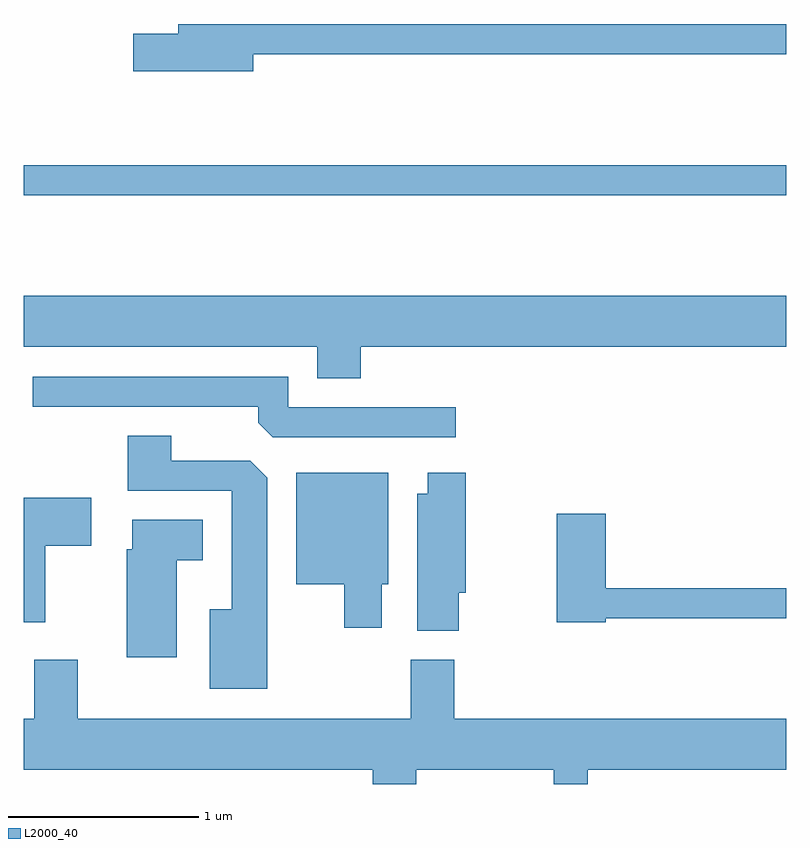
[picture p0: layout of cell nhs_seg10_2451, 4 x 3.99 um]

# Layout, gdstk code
import gdstk
lib = gdstk.Library(unit=1e-6, precision=1e-09)
def R(c, l, rs):  # rectangles x0, y0, x1, y1
    for r in rs: c.add(gdstk.rectangle(r[:2], r[2:], *l))
def P(c, l, *ps):  # polygons
    for p in ps: c.add(gdstk.Polygon(p, *l))
L2000_40 = (2000, 40)

nhs_seg10_2451 = lib.new_cell('nhs_seg10_2451')
R(nhs_seg10_2451, L2000_40, [(257.611,2103.611,261.611,2103.769)])
P(nhs_seg10_2451, L2000_40, [(258.814,2104.351),(261.611,2104.351),(261.611,2104.509),(258.421,2104.509),(258.421,2104.459),(258.186,2104.459),(258.186,2104.261),(258.814,2104.261)],
  [(259.379,2102.816),(261.611,2102.816),(261.611,2103.084),(257.611,2103.084),(257.611,2102.816),(259.151,2102.816),(259.151,2102.651),(259.379,2102.651)],
  [(259.878,2102.499),(258.999,2102.499),(258.999,2102.659),(257.658,2102.659),(257.658,2102.501),(258.841,2102.501),(258.841,2102.417),(258.916,2102.341),(259.878,2102.341)],
  [(258.889,2102.129),(258.799,2102.219),(258.384,2102.219),(258.384,2102.349),(258.156,2102.349),(258.156,2102.061),(258.701,2102.061),(258.701,2101.439),(258.586,2101.439),(258.586,2101.021),(258.889,2101.021)],
  [(259.489,2101.571),(259.524,2101.571),(259.524,2102.154),(259.041,2102.154),(259.041,2101.571),(259.291,2101.571),(259.291,2101.341),(259.489,2101.341)],
  [(259.894,2101.526),(259.929,2101.526),(259.929,2102.154),(259.731,2102.154),(259.731,2102.044),(259.676,2102.044),(259.676,2101.326),(259.894,2101.326)],
  [(257.724,2101.771),(257.964,2101.771),(257.964,2102.024),(257.611,2102.024),(257.611,2101.371),(257.724,2101.371)],
  [(260.664,2101.391),(261.611,2101.391),(261.611,2101.549),(260.664,2101.549),(260.664,2101.939),(260.406,2101.939),(260.406,2101.371),(260.664,2101.371)],
  [(258.414,2101.696),(258.549,2101.696),(258.549,2101.909),(258.181,2101.909),(258.181,2101.754),(258.151,2101.754),(258.151,2101.186),(258.414,2101.186)],
  [(259.669,2100.596),(260.391,2100.596),(260.391,2100.522),(260.569,2100.522),(260.569,2100.596),(261.611,2100.596),(261.611,2100.864),(259.869,2100.864),(259.869,2101.174),(259.641,2101.174),(259.641,2100.864),(257.894,2100.864),(257.894,2101.174),(257.666,2101.174),(257.666,2100.864),(257.611,2100.864),(257.611,2100.596),(259.441,2100.596),(259.441,2100.522),(259.669,2100.522)])

lib.write_gds('nhs_seg10_2451.gds')
